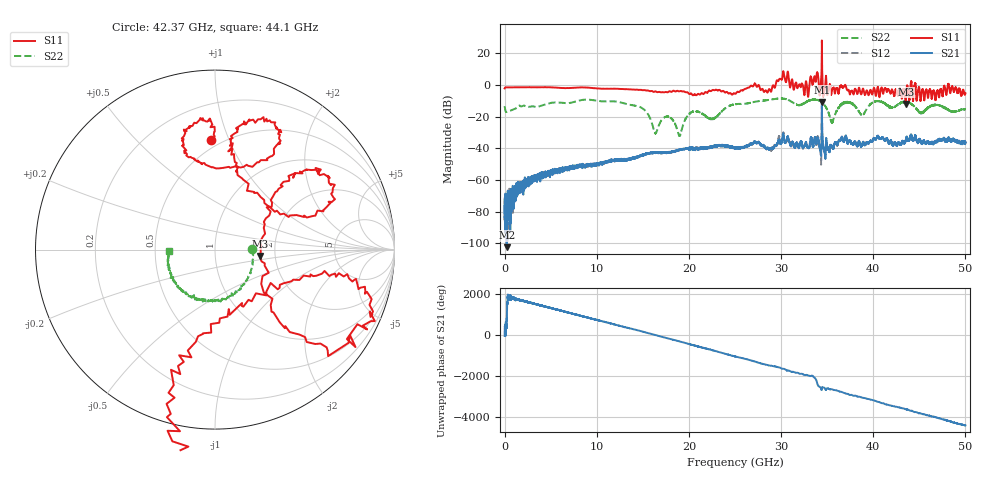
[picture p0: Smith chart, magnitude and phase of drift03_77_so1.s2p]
!Created with skrf (http://scikit-rf.org).
# Hz S RI R 50.0
!freq ReS11 ImS11 ReS21 ImS21 ReS12 ImS12 ReS22 ImS22
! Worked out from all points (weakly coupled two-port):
!   10000 points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, 5.3 MHz to 50 GHz, reference 50 ohm
!   highest |S21| = -11.01 dB at 34.43 GHz (marker M1); lowest = -102.6 dB at 230.3 MHz (marker M2)
!   lowest |S11| = -11.9 dB at 43.53 GHz (marker M3), VSWR 1.68, Z = 83.2 - j6.34 ohm
!   |S11| at or under -10 dB: 43.48411 GHz to 43.5437 GHz (59.59 MHz wide, 0.137 % of centre); 43.54712 GHz to 43.55379 GHz (6.673 MHz wide, 0.0153 % of centre); 44.31458 GHz to 44.31517 GHz (586.8 kHz wide, 0.00132 % of centre)
!   |S22| runs from -32.2 to -8.4 dB; largest |S21 - S12| = 0.086
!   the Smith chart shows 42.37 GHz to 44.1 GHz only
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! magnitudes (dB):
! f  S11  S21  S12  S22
! 5.3 MHz  -2.1  -72.1  -76.0  -13.3
! 230.3 MHz  -1.4  -102.6  -76.7  -17.0
! 3.04 GHz  -1.4  -59.8  -59.2  -13.4
! 8.34 GHz  -1.5  -51.7  -52.1  -9.5
! 14.59 GHz  -3.1  -45.3  -44.9  -13.6
! 16.67 GHz  -4.4  -42.8  -42.8  -26.5
! 17.79 GHz  -4.3  -42.8  -42.4  -20.0
! 19 GHz  -3.9  -40.9  -40.8  -32.1
! 20.29 GHz  -5.5  -39.9  -39.7  -17.1
! 22.57 GHz  -3.1  -39.4  -39.3  -21.5
! 25.01 GHz  -5.5  -39.8  -39.8  -12.1
! 28.72 GHz  -2.5  -40.5  -40.2  -9.3
! 30.14 GHz  4.4  -33.7  -34.1  -8.5
! 33.34 GHz  2.6  -35.2  -35.2  -9.3
! 34.43 GHz  28.2  -11.0  -13.2  -10.8
! 35.53 GHz  -3.4  -38.8  -39.0  -23.6
! 36.98 GHz  0.1  -32.9  -32.6  -11.1
! 38.79 GHz  -4.4  -38.2  -37.8  -19.1
! 40.19 GHz  -3.7  -34.3  -34.2  -10.5
! 41.67 GHz  -2.7  -36.9  -36.7  -13.3
! 43.53 GHz  -11.9  -35.2  -35.0  -10.7
! 50 GHz  -5.2  -36.0  -36.8  -15.4
